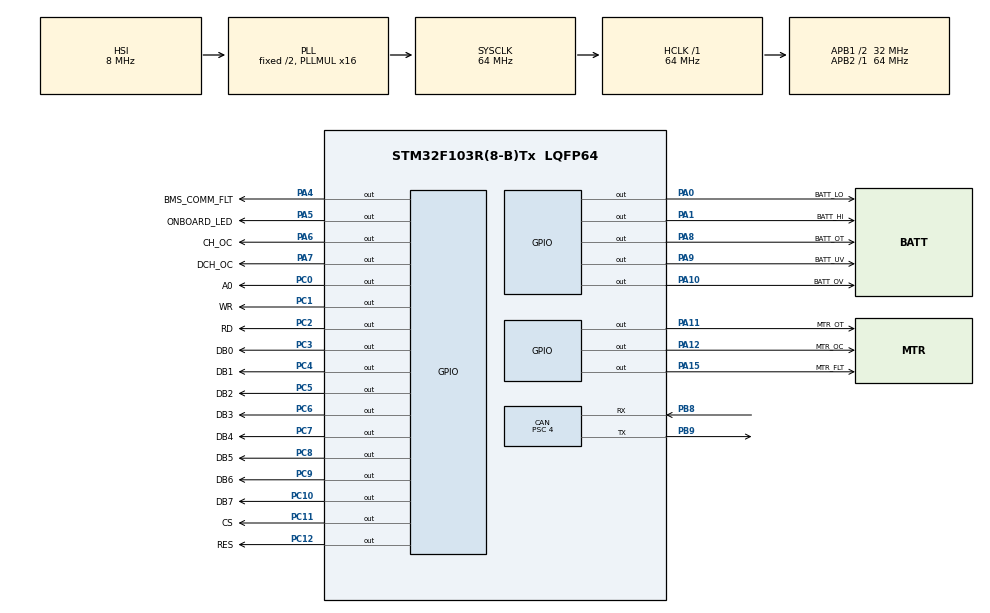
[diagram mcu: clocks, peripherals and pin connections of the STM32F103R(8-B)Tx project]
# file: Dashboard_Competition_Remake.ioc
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CAN.BS1=CAN_BS1_13TQ
CAN.BS2=CAN_BS2_2TQ
CAN.CalculateBaudRate=500000
CAN.CalculateTimeBit=2000
CAN.CalculateTimeQuantum=125.0
CAN.Prescaler=4
Mcu.Family=STM32F1
Mcu.Name=STM32F103R(8-B)Tx
Mcu.Package=LQFP64
NVIC.PriorityGroup=NVIC_PRIORITYGROUP_4
NVIC.USB_LP_CAN1_RX0_IRQn=true\:0\:0\:false\:false\:true\:true\:true\:true
PA0-WKUP.GPIO_Label=BATT_LO
PA0-WKUP.Signal=GPIO_Output
PA1.GPIO_Label=BATT_HI
PA1.Signal=GPIO_Output
PA10.GPIO_Label=BATT_OV
PA10.Signal=GPIO_Output
PA11.GPIO_Label=MTR_OT
PA11.Signal=GPIO_Output
PA12.GPIO_Label=MTR_OC
PA12.Signal=GPIO_Output
PA13.Signal=SYS_JTMS-SWDIO
PA14.Signal=SYS_JTCK-SWCLK
PA15.GPIO_Label=MTR_FLT
PA15.Signal=GPIO_Output
PA4.GPIO_Label=BMS_COMM_FLT
PA4.Signal=GPIO_Output
PA5.GPIO_Label=ONBOARD_LED
PA5.Signal=GPIO_Output
PA6.GPIO_Label=CH_OC
PA6.Signal=GPIO_Output
PA7.GPIO_Label=DCH_OC
PA7.Signal=GPIO_Output
PA8.GPIO_Label=BATT_OT
PA8.Signal=GPIO_Output
PA9.GPIO_Label=BATT_UV
PA9.Signal=GPIO_Output
PB8.Mode=CAN_Activate
PB8.Signal=CAN_RX
PB9.Mode=CAN_Activate
PB9.Signal=CAN_TX
PC0.GPIO_Label=A0
PC0.Signal=GPIO_Output
PC1.GPIO_Label=WR
PC1.Signal=GPIO_Output
PC10.GPIO_Label=DB7
PC10.Signal=GPIO_Output
PC11.GPIO_Label=CS
PC11.Signal=GPIO_Output
PC12.GPIO_Label=RES
PC12.Signal=GPIO_Output
PC2.GPIO_Label=RD
PC2.Signal=GPIO_Output
PC3.GPIO_Label=DB0
PC3.Signal=GPIO_Output
PC4.GPIO_Label=DB1
PC4.Signal=GPIO_Output
PC5.GPIO_Label=DB2
PC5.Signal=GPIO_Output
PC6.GPIO_Label=DB3
PC6.Signal=GPIO_Output
PC7.GPIO_Label=DB4
PC7.Signal=GPIO_Output
PC8.GPIO_Label=DB5
PC8.Signal=GPIO_Output
PC9.GPIO_Label=DB6
PC9.Signal=GPIO_Output
ProjectManager.HeapSize=0x200
ProjectManager.StackSize=0x400
ProjectManager.TargetToolchain=STM32CubeIDE
RCC.AHBFreq_Value=64000000
RCC.APB1CLKDivider=RCC_HCLK_DIV2
RCC.APB1Freq_Value=32000000
RCC.APB1TimFreq_Value=64000000
RCC.APB2Freq_Value=64000000
RCC.APB2TimFreq_Value=64000000
RCC.HCLKFreq_Value=64000000
RCC.PLLMUL=RCC_PLL_MUL16
RCC.SYSCLKFreq_VALUE=64000000
RCC.SYSCLKSource=RCC_SYSCLKSOURCE_PLLCLK
RCC.USBFreq_Value=64000000
TIM3.Prescaler=80-1
VP_SYS_VS_ND.Mode=No_Debug
VP_TIM3_VS_ClockSourceINT.Mode=Internal
board=custom

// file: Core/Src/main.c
/* USER CODE BEGIN Header */
/**
  ******************************************************************************
  * @file           : main.c
  * @brief          : Main program body
  ******************************************************************************
  * @attention
  *
  * Copyright (c) 2022 STMicroelectronics.
  * All rights reserved.
  *
  * This software is licensed under terms that can be found in the LICENSE file
  * in the root directory of this software component.
  * If no LICENSE file comes with this software, it is provided AS-IS.
  *
  ******************************************************************************
  */
/* USER CODE END Header */
#include "main.h"
#include "can.h"
#include "tim.h"
#include "gpio.h"

/* USER CODE BEGIN Includes */
#include "LCD.h"
#include "cyclic_data.h"
#include "DID.h"

/* USER CODE END Includes */

/* USER CODE BEGIN PM */

#define TRUE 1
#define FALSE 0

/* USER CODE END PM */

/* USER CODE BEGIN PV */

CAN_FilterTypeDef CAN_filter0;
CAN_FilterTypeDef CAN_filter1;
CAN_FilterTypeDef CAN_filter2;
CAN_FilterTypeDef CAN_filter3;

CAN_RxHeaderTypeDef CAN_rx_header;

/* USER CODE END PV */

void SystemClock_Config(void);

/* USER CODE BEGIN 0 */

/**
 * Initialize Dashboard LED lights
 */
void InitLEDs(void)
{

	RCC->APB2ENR |= 0x1UL << 2; 		//Initialize clock for GPIOA, if it hasn't been initialized yet
	GPIOA->CRL &= 0;
	GPIOA->CRH &= 0;
	GPIOA->CRL |= 0x33330033UL;			//Set pins A1, A4, A5, A6, A7 to be Push-Pull Output, 50Mhz
	GPIOA->CRH |= 0x30033333UL;			//SetBar pins A8, A9, A10 to be Push-Pull Output, 50Mhz

	RCC->APB2ENR |= 0x1;
	AFIO->MAPR |= 0x2 << 24;
	//GPIOA->BSRR = 0xFFFF;

	//GPIOA->BSRR = 0x1 << 11;

	GPIOA->BRR = 0xFFFF;

}

/* USER CODE END 0 */

int main(void)
{
  /* USER CODE BEGIN 1 */
  uint8_t CAN_rx_data[8];
  /* USER CODE END 1 */

  /* MCU Configuration--------------------------------------------------------*/

  /* Reset of all peripherals, Initializes the Flash interface and the Systick. */
  HAL_Init();

  /* Configure the system clock */
  SystemClock_Config();

  /* Initialize all configured peripherals */
  MX_GPIO_Init();
  MX_CAN_Init();
  MX_TIM3_Init();
  /* USER CODE BEGIN 2 */

  CanFilterSetup();
  HAL_CAN_Start(&hcan);

  //Set Pin initial values
  GPIOC->BSRR = 0x1UL << 0;	 // C0 HIGH
  GPIOC->BSRR = 0x1UL << 1;	 // C1 HIGH
  GPIOC->BSRR = 0x1UL << 2;	 // C2 HIGH
  GPIOC->BRR = 0x1UL << 11;	 // C11 LOW
  GPIOC->BSRR = 0x1UL << 12;   //C12 HIGH

  ScreenSetup();

  // Check if this is required!
  InitLEDs();
  /* USER CODE END 2 */

  /* Infinite loop */
  /* USER CODE BEGIN WHILE */
  while (1)
  {
	// / Parse received CAN message if available
	if (HAL_CAN_GetRxFifoFillLevel(&hcan, CAN_RX_FIFO0) != 0 && HAL_OK == HAL_CAN_GetRxMessage(&hcan, CAN_RX_FIFO0, &CAN_rx_header, CAN_rx_data))
	{
		parse_can_message( CAN_rx_data, CAN_rx_header.StdId );
	}

	// Check DID timeout
	DID_timeout();

	// Update DID LCD screen
	update_DID_screen();

    /* USER CODE END WHILE */

  }
}

void SystemClock_Config(void)
{
  RCC_OscInitTypeDef RCC_OscInitStruct = {0};
  RCC_ClkInitTypeDef RCC_ClkInitStruct = {0};

  /** Initializes the RCC Oscillators according to the specified parameters
  * in the RCC_OscInitTypeDef structure.
  */
  RCC_OscInitStruct.OscillatorType = RCC_OSCILLATORTYPE_HSI;
  RCC_OscInitStruct.HSIState = RCC_HSI_ON;
  RCC_OscInitStruct.HSICalibrationValue = RCC_HSICALIBRATION_DEFAULT;
  RCC_OscInitStruct.PLL.PLLState = RCC_PLL_ON;
  RCC_OscInitStruct.PLL.PLLSource = RCC_PLLSOURCE_HSI_DIV2;
  RCC_OscInitStruct.PLL.PLLMUL = RCC_PLL_MUL16;
  if (HAL_RCC_OscConfig(&RCC_OscInitStruct) != HAL_OK)
  {
    Error_Handler();
  }

  /** Initializes the CPU, AHB and APB buses clocks
  */
  RCC_ClkInitStruct.ClockType = RCC_CLOCKTYPE_HCLK|RCC_CLOCKTYPE_SYSCLK
                              |RCC_CLOCKTYPE_PCLK1|RCC_CLOCKTYPE_PCLK2;
  RCC_ClkInitStruct.SYSCLKSource = RCC_SYSCLKSOURCE_PLLCLK;
  RCC_ClkInitStruct.AHBCLKDivider = RCC_SYSCLK_DIV1;
  RCC_ClkInitStruct.APB1CLKDivider = RCC_HCLK_DIV2;
  RCC_ClkInitStruct.APB2CLKDivider = RCC_HCLK_DIV1;

  if (HAL_RCC_ClockConfig(&RCC_ClkInitStruct, FLASH_LATENCY_2) != HAL_OK)
  {
    Error_Handler();
  }
}

void Error_Handler(void)
{
  __disable_irq();
  while (1)
  {
  }
}
